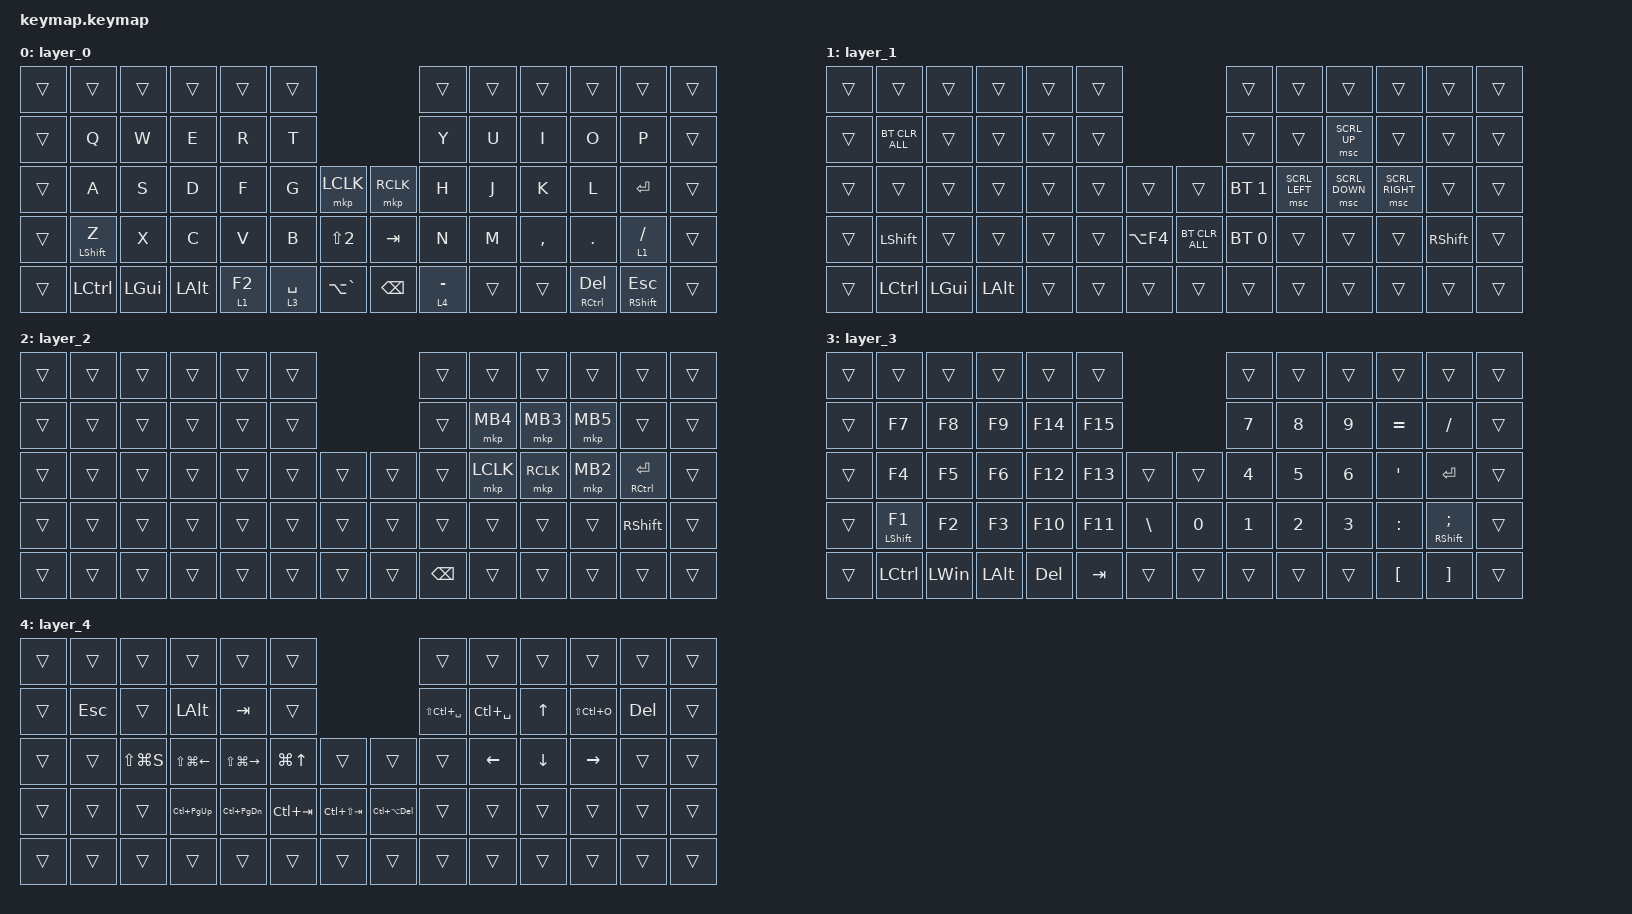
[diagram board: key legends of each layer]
#include <behaviors.dtsi>
#include <dt-bindings/zmk/bt.h>
#include <dt-bindings/zmk/keys.h>
#include <dt-bindings/zmk/pointing.h>

/ {
    combos {
        compatible = "zmk,combos";

        Clear_BT_Profile {
            bindings = <&bt BT_CLR>;
            key-positions = <13 14 15 16 36>;
        };
    };

    keymap {
        compatible = "zmk,keymap";

        layer_0 {
            bindings = <
&trans  &trans            &trans    &trans    &trans    &trans                                        &trans       &trans  &trans     &trans                    &trans                  &trans
&trans  &kp Q             &kp W     &kp E     &kp R     &kp T                                         &kp Y        &kp U   &kp I      &kp O                     &kp P                   &trans
&trans  &kp A             &kp S     &kp D     &kp F     &kp G        &mkp LCLK         &mkp RCLK      &kp H        &kp J   &kp K      &kp L                     &kp ENTER               &trans
&trans  &mt LEFT_SHIFT Z  &kp X     &kp C     &kp V     &kp B        &kp LS(NUMBER_2)  &kp TAB        &kp N        &kp M   &kp COMMA  &kp DOT                   &lt 1 FSLH              &trans
&trans  &kp LCTRL         &kp LGUI  &kp LALT  &lt 1 F2  &lt 3 SPACE  &kp LA(GRAVE)     &kp BACKSPACE  &lt 4 MINUS  &trans  &trans     &mt RIGHT_CONTROL DELETE  &mt RIGHT_SHIFT ESCAPE  &trans
            >;
        };

        layer_1 {
            bindings = <
&trans  &trans            &trans        &trans        &trans  &trans                              &trans        &trans          &trans          &trans           &trans           &trans
&trans  &bt BT_CLR_ALL    &trans        &trans        &trans  &trans                              &trans        &trans          &msc SCRL_UP    &trans           &trans           &trans
&trans  &trans            &trans        &trans        &trans  &trans  &trans      &trans          &bt BT_SEL 1  &msc SCRL_LEFT  &msc SCRL_DOWN  &msc SCRL_RIGHT  &trans           &trans
&trans  &kp LEFT_SHIFT    &trans        &trans        &trans  &trans  &kp LA(F4)  &bt BT_CLR_ALL  &bt BT_SEL 0  &trans          &trans          &trans           &kp RIGHT_SHIFT  &trans
&trans  &kp LEFT_CONTROL  &kp LEFT_GUI  &kp LEFT_ALT  &trans  &trans  &trans      &trans          &trans        &trans          &trans          &trans           &trans           &trans
            >;
        };

        layer_2 {
            bindings = <
&trans  &trans  &trans  &trans  &trans  &trans                  &trans         &trans     &trans     &trans    &trans                   &trans
&trans  &trans  &trans  &trans  &trans  &trans                  &trans         &mkp MB4   &mkp MB3   &mkp MB5  &trans                   &trans
&trans  &trans  &trans  &trans  &trans  &trans  &trans  &trans  &trans         &mkp LCLK  &mkp RCLK  &mkp MB2  &mt RIGHT_CONTROL ENTER  &trans
&trans  &trans  &trans  &trans  &trans  &trans  &trans  &trans  &trans         &trans     &trans     &trans    &kp RIGHT_SHIFT          &trans
&trans  &trans  &trans  &trans  &trans  &trans  &trans  &trans  &kp BACKSPACE  &trans     &trans     &trans    &trans                   &trans
            >;
        };

        layer_3 {
            bindings = <
&trans  &trans             &trans        &trans        &trans      &trans                                &trans        &trans        &trans        &trans            &trans                     &trans
&trans  &kp F7             &kp F8        &kp F9        &kp F14     &kp F15                               &kp NUMBER_7  &kp NUMBER_8  &kp NUMBER_9  &kp EQUAL         &kp SLASH                  &trans
&trans  &kp F4             &kp F5        &kp F6        &kp F12     &kp F13  &trans         &trans        &kp NUMBER_4  &kp NUMBER_5  &kp NUMBER_6  &kp SQT           &kp ENTER                  &trans
&trans  &mt LEFT_SHIFT F1  &kp F2        &kp F3        &kp F10     &kp F11  &kp BACKSLASH  &kp NUMBER_0  &kp NUMBER_1  &kp NUMBER_2  &kp NUMBER_3  &kp COLON         &mt RIGHT_SHIFT SEMICOLON  &trans
&trans  &kp LEFT_CONTROL   &kp LEFT_WIN  &kp LEFT_ALT  &kp DELETE  &kp TAB  &trans         &trans        &trans        &trans        &trans        &kp LEFT_BRACKET  &kp RIGHT_BRACKET          &trans
            >;
        };

        layer_4 {
            bindings = <
&trans  &trans      &trans         &trans            &trans             &trans                                            &trans             &trans         &trans    &trans         &trans      &trans
&trans  &kp ESCAPE  &trans         &kp LEFT_ALT      &kp TAB            &trans                                            &kp LS(LC(SPACE))  &kp LC(SPACE)  &kp UP    &kp LS(LC(O))  &kp DELETE  &trans
&trans  &trans      &kp LS(LG(S))  &kp LS(LG(LEFT))  &kp LS(LG(RIGHT))  &kp LG(UP)   &trans           &trans              &trans             &kp LEFT       &kp DOWN  &kp RIGHT      &trans      &trans
&trans  &trans      &trans         &kp LC(PAGE_UP)   &kp LC(PAGE_DOWN)  &kp LC(TAB)  &kp LC(LS(TAB))  &kp LC(LA(DELETE))  &trans             &trans         &trans    &trans         &trans      &trans
&trans  &trans      &trans         &trans            &trans             &trans       &trans           &trans              &trans             &trans         &trans    &trans         &trans      &trans
            >;
        };
    };
};
